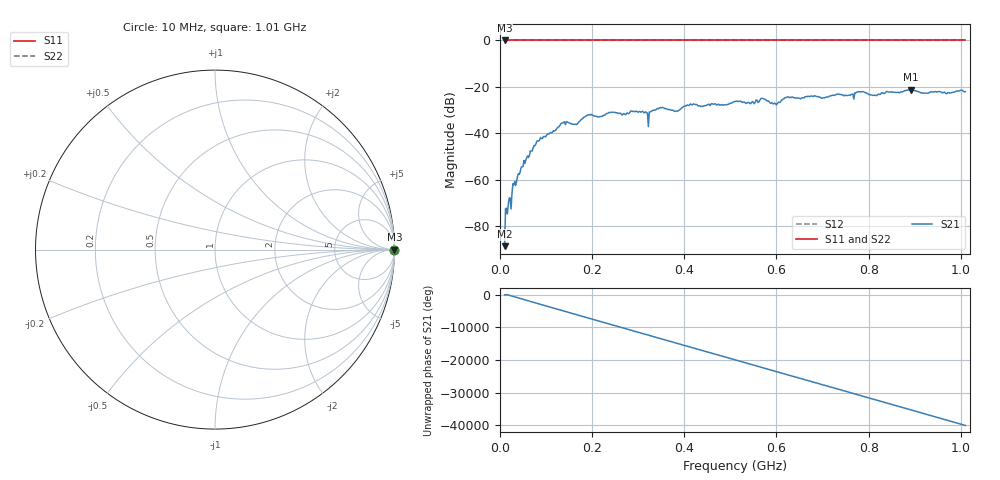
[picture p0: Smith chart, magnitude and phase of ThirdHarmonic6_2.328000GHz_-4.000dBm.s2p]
! 8/17/2025 3:20:57 AM
! C:\ANRITSUVNA\TEMP\TEMP.S2P
! CHANNEL.1
! TR.MEASUREMENT
! RAW.DATA
! RF.CORRECTION.OFF
! AVERAGING.OFF
! IF.BANDWIDTH: 5KHZ
! SWEEPTYPE:  FREQ.SWEEP(Linear)
! Reference Plane Port Info
! PORT:  PORT1  PORT2
! DISTANCE:  0  m  0  m
! TIME:  0  s  0  s
! PHASE.OFFSET:  0  deg.  0  deg.
! LOSS:  0  dB  0  dB
! REF.LOSS:  0  dB  0  dB
! REF.FREQ:  0  Hz  0  Hz
! Power Info
! POWER:  -20  dBm  -20  dBm
! EFF.POWER:  -20  dBm  -20  dBm
! SOURCE.ATTEN:  0  dB  0  dB
! TEST.ATTEN:  0  dB  0  dB
# GHZ S RI R 50.0
! FREQ.GHZ  S11RE  S11IM  S21RE  S21IM  S12RE  S12IM  S22RE  S22IM
!; PortSelection: Port_12
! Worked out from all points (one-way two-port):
!   501 points, 10 MHz to 1.01 GHz, reference 50 ohm
!   highest |S21| = -21.18 dB at 892 MHz (marker M1); lowest = -88.6 dB at 10 MHz (marker M2)
!   lowest |S11| = 0.0 dB at 10 MHz (marker M3)
!   |S11| at or under -10 dB: nowhere
!   |S22| runs from 0.0 to 0.0 dB; largest |S21 - S12| = 1.1
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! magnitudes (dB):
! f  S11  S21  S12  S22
! 10 MHz  0.0  -88.6  0.0  0.0
! 32 MHz  0.0  -60.7  0.0  0.0
! 48 MHz  0.0  -54.5  0.0  0.0
! 78 MHz  0.0  -44.5  0.0  0.0
! 136 MHz  0.0  -35.5  0.0  0.0
! 164 MHz  0.0  -36.1  0.0  0.0
! 178 MHz  0.0  -33.8  0.0  0.0
! 242 MHz  0.0  -30.9  0.0  0.0
! 306 MHz  0.0  -30.9  0.0  0.0
! 322 MHz  0.0  -37.1  0.0  0.0
! 344 MHz  0.0  -29.4  0.0  0.0
! 382 MHz  0.0  -30.4  0.0  0.0
! 410 MHz  0.0  -28.0  0.0  0.0
! 510 MHz  0.0  -26.3  0.0  0.0
! 548 MHz  0.0  -26.3  0.0  0.0
! 570 MHz  0.0  -25.0  0.0  0.0
! 596 MHz  0.0  -27.0  0.0  0.0
! 622 MHz  0.0  -24.5  0.0  0.0
! 678 MHz  0.0  -24.0  0.0  0.0
! 844 MHz  0.0  -22.2  0.0  0.0
! 892 MHz  0.0  -21.2  0.0  0.0
! 1.01 GHz  0.0  -22.1  0.0  0.0
